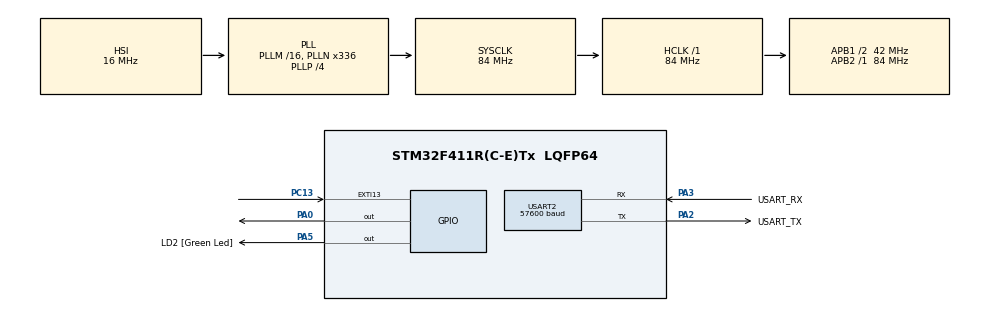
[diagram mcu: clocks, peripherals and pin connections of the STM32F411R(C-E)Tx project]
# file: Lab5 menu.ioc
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Dma.Request0=USART2_TX
Dma.Request1=USART2_RX
Dma.USART2_RX.1.Direction=DMA_PERIPH_TO_MEMORY
Dma.USART2_RX.1.FIFOMode=DMA_FIFOMODE_DISABLE
Dma.USART2_RX.1.Instance=DMA1_Stream5
Dma.USART2_RX.1.MemDataAlignment=DMA_MDATAALIGN_BYTE
Dma.USART2_RX.1.MemInc=DMA_MINC_ENABLE
Dma.USART2_RX.1.Mode=DMA_CIRCULAR
Dma.USART2_RX.1.PeriphDataAlignment=DMA_PDATAALIGN_BYTE
Dma.USART2_RX.1.PeriphInc=DMA_PINC_DISABLE
Dma.USART2_RX.1.Priority=DMA_PRIORITY_LOW
Dma.USART2_TX.0.Direction=DMA_MEMORY_TO_PERIPH
Dma.USART2_TX.0.FIFOMode=DMA_FIFOMODE_DISABLE
Dma.USART2_TX.0.Instance=DMA1_Stream6
Dma.USART2_TX.0.MemDataAlignment=DMA_MDATAALIGN_BYTE
Dma.USART2_TX.0.MemInc=DMA_MINC_ENABLE
Dma.USART2_TX.0.Mode=DMA_NORMAL
Dma.USART2_TX.0.PeriphDataAlignment=DMA_PDATAALIGN_BYTE
Dma.USART2_TX.0.PeriphInc=DMA_PINC_DISABLE
Dma.USART2_TX.0.Priority=DMA_PRIORITY_LOW
Mcu.Family=STM32F4
Mcu.Name=STM32F411R(C-E)Tx
Mcu.Package=LQFP64
NVIC.DMA1_Stream5_IRQn=true\:0\:0\:false\:false\:true\:false\:true\:true
NVIC.DMA1_Stream6_IRQn=true\:0\:0\:false\:false\:true\:false\:true\:true
NVIC.EXTI15_10_IRQn=true\:0\:0\:false\:false\:true\:true\:true\:true
NVIC.PriorityGroup=NVIC_PRIORITYGROUP_0
NVIC.USART2_IRQn=true\:0\:0\:false\:false\:true\:true\:true\:true
PA0-WKUP.Signal=GPIO_Output
PA13.GPIO_Label=TMS
PA13.Mode=Serial_Wire
PA13.Signal=SYS_JTMS-SWDIO
PA14.GPIO_Label=TCK
PA14.Mode=Serial_Wire
PA14.Signal=SYS_JTCK-SWCLK
PA2.GPIO_Label=USART_TX
PA2.Mode=Asynchronous
PA2.Signal=USART2_TX
PA3.GPIO_Label=USART_RX
PA3.Mode=Asynchronous
PA3.Signal=USART2_RX
PA5.GPIO_Label=LD2 [Green Led]
PA5.Signal=GPIO_Output
PB3.GPIO_Label=SWO
PB3.Signal=SYS_JTDO-SWO
PC13-ANTI_TAMP.GPIO_ModeDefaultEXTI=GPIO_MODE_IT_RISING_FALLING
PC13-ANTI_TAMP.Signal=GPXTI13
PC14-OSC32_IN.Mode=LSE-External-Oscillator
PC14-OSC32_IN.Signal=RCC_OSC32_IN
PC15-OSC32_OUT.Mode=LSE-External-Oscillator
PC15-OSC32_OUT.Signal=RCC_OSC32_OUT
PH0\ -\ OSC_IN.Mode=HSE-External-Clock-Source
PH0\ -\ OSC_IN.Signal=RCC_OSC_IN
PH1\ -\ OSC_OUT.Mode=HSE-External-Clock-Source
PH1\ -\ OSC_OUT.Signal=RCC_OSC_OUT
ProjectManager.HeapSize=0x200
ProjectManager.StackSize=0x400
ProjectManager.TargetToolchain=STM32CubeIDE
RCC.48MHZClocksFreq_Value=84000000
RCC.AHBFreq_Value=84000000
RCC.APB1CLKDivider=RCC_HCLK_DIV2
RCC.APB1Freq_Value=42000000
RCC.APB1TimFreq_Value=84000000
RCC.APB2Freq_Value=84000000
RCC.APB2TimFreq_Value=84000000
RCC.CortexFreq_Value=84000000
RCC.FLatency-AdvancedSettings=FLASH_LATENCY_2
RCC.HCLKFreq_Value=84000000
RCC.HSE_VALUE=8000000
RCC.HSI_VALUE=16000000
RCC.PLLN=336
RCC.PLLP=RCC_PLLP_DIV4
RCC.SYSCLKFreq_VALUE=84000000
RCC.SYSCLKSource=RCC_SYSCLKSOURCE_PLLCLK
RCC.VCOOutputFreq_Value=336000000
USART2.BaudRate=57600
USART2.VirtualMode=VM_ASYNC
board=NUCLEO-F411RE

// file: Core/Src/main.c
/* USER CODE BEGIN Header */
/**
  ******************************************************************************
  * @file           : main.c
  * @brief          : Main program body
  ******************************************************************************
  * @attention
  *
  * Copyright (c) 2023 STMicroelectronics.
  * All rights reserved.
  *
  * This software is licensed under terms that can be found in the LICENSE file
  * in the root directory of this software component.
  * If no LICENSE file comes with this software, it is provided AS-IS.
  *Phanwaphat Lohasummakul 64340500069
  ******************************************************************************
  */
/* USER CODE END Header */
#include "main.h"

/* USER CODE BEGIN Includes */
#include "stdio.h"
#include "string.h"
/* USER CODE END Includes */

UART_HandleTypeDef huart2;
DMA_HandleTypeDef hdma_usart2_tx;
DMA_HandleTypeDef hdma_usart2_rx;

/* USER CODE BEGIN PV */
uint8_t RxBuffer[20];
uint8_t TxBuffer[150];
uint32_t timestamp = 0;
int Timehz = 0;
int Num = 0;
int U = 0;
int Hz = 0;
int CheckB1;
enum{
	Welcomeja, LED_Control, Button_Status
}state = Welcomeja;
/* USER CODE END PV */

void SystemClock_Config(void);
static void MX_GPIO_Init(void);
static void MX_DMA_Init(void);
static void MX_USART2_UART_Init(void);
/* USER CODE BEGIN PFP */
void UARTDMAConfig();
void LEDOn();
void LEDOff();
void welcome();
/* USER CODE END PFP */

int main(void)
{

  /* MCU Configuration--------------------------------------------------------*/

  /* Reset of all peripherals, Initializes the Flash interface and the Systick. */
  HAL_Init();

  /* Configure the system clock */
  SystemClock_Config();

  /* Initialize all configured peripherals */
  MX_GPIO_Init();
  MX_DMA_Init();
  MX_USART2_UART_Init();
  /* USER CODE BEGIN 2 */
  welcome();
  UARTDMAConfig();
  /* USER CODE END 2 */

  /* Infinite loop */
  while (1)
  {

    /* USER CODE BEGIN 3 */
	  HAL_GPIO_TogglePin(GPIOA, GPIO_PIN_0);
	  if((Num%2==1)&&(U>-5)){
		  LEDOn();
	  }
  }
  /* USER CODE END 3 */
}

void SystemClock_Config(void)
{
  RCC_OscInitTypeDef RCC_OscInitStruct = {0};
  RCC_ClkInitTypeDef RCC_ClkInitStruct = {0};

  /** Configure the main internal regulator output voltage
  */
  __HAL_RCC_PWR_CLK_ENABLE();
  __HAL_PWR_VOLTAGESCALING_CONFIG(PWR_REGULATOR_VOLTAGE_SCALE1);

  /** Initializes the RCC Oscillators according to the specified parameters
  * in the RCC_OscInitTypeDef structure.
  */
  RCC_OscInitStruct.OscillatorType = RCC_OSCILLATORTYPE_HSI;
  RCC_OscInitStruct.HSIState = RCC_HSI_ON;
  RCC_OscInitStruct.HSICalibrationValue = RCC_HSICALIBRATION_DEFAULT;
  RCC_OscInitStruct.PLL.PLLState = RCC_PLL_ON;
  RCC_OscInitStruct.PLL.PLLSource = RCC_PLLSOURCE_HSI;
  RCC_OscInitStruct.PLL.PLLM = 16;
  RCC_OscInitStruct.PLL.PLLN = 336;
  RCC_OscInitStruct.PLL.PLLP = RCC_PLLP_DIV4;
  RCC_OscInitStruct.PLL.PLLQ = 4;
  if (HAL_RCC_OscConfig(&RCC_OscInitStruct) != HAL_OK)
  {
    Error_Handler();
  }

  /** Initializes the CPU, AHB and APB buses clocks
  */
  RCC_ClkInitStruct.ClockType = RCC_CLOCKTYPE_HCLK|RCC_CLOCKTYPE_SYSCLK
                              |RCC_CLOCKTYPE_PCLK1|RCC_CLOCKTYPE_PCLK2;
  RCC_ClkInitStruct.SYSCLKSource = RCC_SYSCLKSOURCE_PLLCLK;
  RCC_ClkInitStruct.AHBCLKDivider = RCC_SYSCLK_DIV1;
  RCC_ClkInitStruct.APB1CLKDivider = RCC_HCLK_DIV2;
  RCC_ClkInitStruct.APB2CLKDivider = RCC_HCLK_DIV1;

  if (HAL_RCC_ClockConfig(&RCC_ClkInitStruct, FLASH_LATENCY_2) != HAL_OK)
  {
    Error_Handler();
  }
}

static void MX_USART2_UART_Init(void)
{

  huart2.Instance = USART2;
  huart2.Init.BaudRate = 57600;
  huart2.Init.WordLength = UART_WORDLENGTH_8B;
  huart2.Init.StopBits = UART_STOPBITS_1;
  huart2.Init.Parity = UART_PARITY_NONE;
  huart2.Init.Mode = UART_MODE_TX_RX;
  huart2.Init.HwFlowCtl = UART_HWCONTROL_NONE;
  huart2.Init.OverSampling = UART_OVERSAMPLING_16;
  if (HAL_UART_Init(&huart2) != HAL_OK)
  {
    Error_Handler();
  }

}

static void MX_DMA_Init(void)
{

  /* DMA controller clock enable */
  __HAL_RCC_DMA1_CLK_ENABLE();

  /* DMA interrupt init */
  /* DMA1_Stream5_IRQn interrupt configuration */
  HAL_NVIC_SetPriority(DMA1_Stream5_IRQn, 0, 0);
  HAL_NVIC_EnableIRQ(DMA1_Stream5_IRQn);
  /* DMA1_Stream6_IRQn interrupt configuration */
  HAL_NVIC_SetPriority(DMA1_Stream6_IRQn, 0, 0);
  HAL_NVIC_EnableIRQ(DMA1_Stream6_IRQn);

}

static void MX_GPIO_Init(void)
{
  GPIO_InitTypeDef GPIO_InitStruct = {0};

  /* GPIO Ports Clock Enable */
  __HAL_RCC_GPIOC_CLK_ENABLE();
  __HAL_RCC_GPIOH_CLK_ENABLE();
  __HAL_RCC_GPIOA_CLK_ENABLE();
  __HAL_RCC_GPIOB_CLK_ENABLE();

  /*Configure GPIO pin Output Level */
  HAL_GPIO_WritePin(GPIOA, GPIO_PIN_0|LD2_Pin, GPIO_PIN_RESET);

  /*Configure GPIO pin : PC13 */
  GPIO_InitStruct.Pin = GPIO_PIN_13;
  GPIO_InitStruct.Mode = GPIO_MODE_IT_RISING_FALLING;
  GPIO_InitStruct.Pull = GPIO_NOPULL;
  HAL_GPIO_Init(GPIOC, &GPIO_InitStruct);

  /*Configure GPIO pins : PA0 LD2_Pin */
  GPIO_InitStruct.Pin = GPIO_PIN_0|LD2_Pin;
  GPIO_InitStruct.Mode = GPIO_MODE_OUTPUT_PP;
  GPIO_InitStruct.Pull = GPIO_NOPULL;
  GPIO_InitStruct.Speed = GPIO_SPEED_FREQ_LOW;
  HAL_GPIO_Init(GPIOA, &GPIO_InitStruct);

  /* EXTI interrupt init*/
  HAL_NVIC_SetPriority(EXTI15_10_IRQn, 0, 0);
  HAL_NVIC_EnableIRQ(EXTI15_10_IRQn);

}

/* USER CODE BEGIN 4 */
void welcome(){
	sprintf((char*)TxBuffer,"\r\nWelcome to Menu\r\n---------------\r\n0 : LED Control\r\n1 : Button Status\r\nPlease Select Menu\r\n");
	HAL_UART_Transmit_DMA(&huart2, TxBuffer, strlen((char*)TxBuffer));
}

void UARTDMAConfig()
{
	HAL_UART_Receive_DMA(&huart2, RxBuffer, 1);
}

void HAL_UART_RxCpltCallback(UART_HandleTypeDef *huart)
{
	if(huart == &huart2)
	{
		RxBuffer[1] = '\0';
	  switch(state){
	  case Welcomeja:
		  if(RxBuffer[0]==48){
			  sprintf((char*)TxBuffer,"\r\nYou Select Menu %s : LED Control\r\nLED Control Menu\r\na : SpeedUp\r\ns : SpeedDown\r\nd : OnOff\r\nx : Back\r\n",RxBuffer);
			  state = LED_Control;
		  }
		  else if (RxBuffer[0]==49){
			  CheckB1 = 1;
			  sprintf((char*)TxBuffer,"\r\nYou Select Menu %s : Button Status\r\nButton Status Menu\r\nx : Back\r\nB1 : Show Button Status",RxBuffer);
			  state = Button_Status;
		  }
		  else{
			  sprintf((char*)TxBuffer,"\r\nYou Select Menu %s : Don't have this menu\r\nPlease select again\r\n",RxBuffer);
			  state = Welcomeja;
		  }
		  break;
	  case LED_Control:
		  if(RxBuffer[0] == 97){
			  if(Num%2==1){
				  U += 1;
				  Hz = 5 + U;
				  sprintf((char*)TxBuffer,"\r\nLED blink with a frequency of %d Hz\r\n",Hz);
			  }
			  else if(Num%2==0){
				  sprintf((char*)TxBuffer,"\r\nLED Off\r\nPlease On LED\r\n");
			  }
			  state = LED_Control;
		  }
		  else if(RxBuffer[0] == 115){
			  if(Num%2==1){
				  U -= 1;
				  Hz = 5 + U;
				  if(Hz > 0){
					  sprintf((char*)TxBuffer,"\r\nLED blink with a frequency of %d Hz\r\n",Hz);
				  }
				  else if(Hz <= 0){
					  U = -5;
					  LEDOff();
					  sprintf((char*)TxBuffer,"\r\nThe LED does not blink because the frequency is <= 0\r\nPlease increase the frequency\r\n");
				  }
			  }
			  else if(Num%2==0){
				  sprintf((char*)TxBuffer,"\r\nLED Off\r\nPlease On LED\r\n");
			  }
			  state = LED_Control;
		  }
		  else if(RxBuffer[0] == 100){
			  Num += 1;
			  if(Num % 2 == 1){
				  LEDOn();
				  sprintf((char*)TxBuffer,"\r\nLED On\r\n");
			  }
			  else if(Num % 2 == 0){
				  LEDOff();
				  sprintf((char*)TxBuffer,"\r\nLED Off\r\n");
			  }
			  state = LED_Control;
		  }
  		  else if(RxBuffer[0] == 120){
  			  LEDOff();
  			  U = 0;
  			  sprintf((char*)TxBuffer,"\r\nBack to main menu\r\n0 : LED Control\r\n1 : Button Status\r\nPlease Select Menu\r\n");
  			  state = Welcomeja;
  		  }
  		  else{
  			  sprintf((char*)TxBuffer,"\r\nYou Select Menu %s : Don't have this menu\r\nPlease select again\r\n",RxBuffer);
			  state = LED_Control;
  		  }
		  break;
	  case Button_Status:
		  if(RxBuffer[0] == 120){
			  CheckB1 = 0;
			  sprintf((char*)TxBuffer,"\r\nBack to main menu\r\n0 : LED Control\r\n1 : Button Status\r\nPlease Select Menu\r\n");
			  state = Welcomeja;
		  }
		  else{
			  sprintf((char*)TxBuffer,"\r\nYou Select Menu %s : Don't have this menu\r\nPlease select again\r\n",RxBuffer);
			  state = Button_Status;
		  }
		  break;
	  }
	  HAL_UART_Transmit_DMA(&huart2, TxBuffer, strlen((char*)TxBuffer));
	}
}

void HAL_GPIO_EXTI_Callback(uint16_t GPIO_Pin)
{
	if(GPIO_Pin == GPIO_PIN_13)
	{
		if(CheckB1 == 1){
			if(HAL_GPIO_ReadPin(GPIOC, GPIO_PIN_13) == 0){
				sprintf((char*)TxBuffer,"\r\nThe button is pressed\r\n");
				HAL_UART_Transmit_DMA(&huart2, TxBuffer, strlen((char*)TxBuffer));
			}
			else if(HAL_GPIO_ReadPin(GPIOC, GPIO_PIN_13) == 1){
				sprintf((char*)TxBuffer,"\r\nThe button is not pressed\r\n");
				HAL_UART_Transmit_DMA(&huart2, TxBuffer, strlen((char*)TxBuffer));
			}
		}
	}
}

void LEDOn()
{
	if(HAL_GetTick() >= timestamp)
	{
		Timehz = 1000/(2*(5+U));
		timestamp = HAL_GetTick()+ Timehz;
		HAL_GPIO_TogglePin(LD2_GPIO_Port, LD2_Pin);
	}
}

void LEDOff()
{
	HAL_GPIO_WritePin(GPIOA, GPIO_PIN_5, GPIO_PIN_RESET);
}
/* USER CODE END 4 */

void Error_Handler(void)
{
  __disable_irq();
  while (1)
  {
  }
}
